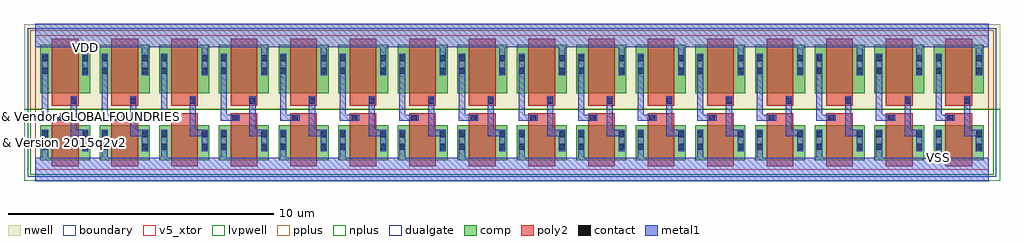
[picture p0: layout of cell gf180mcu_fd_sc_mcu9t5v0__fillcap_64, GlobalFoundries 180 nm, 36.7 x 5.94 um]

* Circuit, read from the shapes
.subckt gf180mcu_fd_sc_mcu9t5v0__fillcap_64 VDD VSS
XM1 n1 n2 VSS VSUBS nfet_05v0 w=1.32u l=1u
XM2 n3 n4 VSS VSUBS nfet_05v0 w=1.32u l=1u
XM3 n5 n6 VSS VSUBS nfet_05v0 w=1.32u l=1u
XM4 n7 n8 VSS VSUBS nfet_05v0 w=1.32u l=1u
XM5 n9 n10 VSS VSUBS nfet_05v0 w=1.32u l=1u
XM6 n11 n12 VSS VSUBS nfet_05v0 w=1.32u l=1u
XM7 n13 n14 VSS VSUBS nfet_05v0 w=1.32u l=1u
XM8 n15 n16 VSS VSUBS nfet_05v0 w=1.32u l=1u
XM9 n17 n18 VSS VSUBS nfet_05v0 w=1.32u l=1u
XM10 n19 n20 VSS VSUBS nfet_05v0 w=1.32u l=1u
XM11 n21 n22 VSS VSUBS nfet_05v0 w=1.32u l=1u
XM12 n23 n24 VSS VSUBS nfet_05v0 w=1.32u l=1u
XM13 n25 n26 VSS VSUBS nfet_05v0 w=1.32u l=1u
XM14 n27 n28 VSS VSUBS nfet_05v0 w=1.32u l=1u
XM15 n29 n30 VSS VSUBS nfet_05v0 w=1.32u l=1u
XM16 n31 n32 VSS VSUBS nfet_05v0 w=1.32u l=1u
XM17 VDD n1 n2 n33 pfet_05v0 w=1.83u l=1u
XM18 VDD n3 n4 n33 pfet_05v0 w=1.83u l=1u
XM19 VDD n5 n6 n33 pfet_05v0 w=1.83u l=1u
XM20 VDD n7 n8 n33 pfet_05v0 w=1.83u l=1u
XM21 VDD n9 n10 n33 pfet_05v0 w=1.83u l=1u
XM22 VDD n11 n12 n33 pfet_05v0 w=1.83u l=1u
XM23 VDD n13 n14 n33 pfet_05v0 w=1.83u l=1u
XM24 VDD n15 n16 n33 pfet_05v0 w=1.83u l=1u
XM25 VDD n17 n18 n33 pfet_05v0 w=1.83u l=1u
XM26 VDD n19 n20 n33 pfet_05v0 w=1.83u l=1u
XM27 VDD n21 n22 n33 pfet_05v0 w=1.83u l=1u
XM28 VDD n23 n24 n33 pfet_05v0 w=1.83u l=1u
XM29 VDD n25 n26 n33 pfet_05v0 w=1.83u l=1u
XM30 VDD n27 n28 n33 pfet_05v0 w=1.83u l=1u
XM31 VDD n29 n30 n33 pfet_05v0 w=1.83u l=1u
XM32 VDD n31 n32 n33 pfet_05v0 w=1.83u l=1u
.ends

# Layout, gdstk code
import gdstk
lib = gdstk.Library(unit=1e-6, precision=1e-09)
def R(c, l, rs):  # rectangles x0, y0, x1, y1
    for r in rs: c.add(gdstk.rectangle(r[:2], r[2:], *l))
def A(c, l, x, y, w, h, nx, ny, dx, dy):  # array of equal rectangles
    R(c, l, [(x+i*dx, y+j*dy, x+i*dx+w, y+j*dy+h) for i in range(nx) for j in range(ny)])
def P(c, l, *ps):  # polygons
    for p in ps: c.add(gdstk.Polygon(p, *l))
boundary = (0, 0)
nwell = (21, 0)
comp = (22, 0)
poly2 = (30, 0)
pplus = (31, 0)
nplus = (32, 0)
contact = (33, 0)
metal1 = (34, 0)
dualgate = (55, 0)
v5_xtor = (112, 1)
lvpwell = (204, 0)

gf180mcu_fd_sc_mcu9t5v0_ = lib.new_cell('gf180mcu_fd_sc_mcu9t5v0__fillcap_64')
R(gf180mcu_fd_sc_mcu9t5v0_, boundary, [(0,0,35.84,5.04)])
R(gf180mcu_fd_sc_mcu9t5v0_, nwell, [(-0.43,2.265,36.27,5.47)])
A(gf180mcu_fd_sc_mcu9t5v0_, comp, 0.18, 0.345, 1.88, 1.32, 16, 1, 2.24, 0)
A(gf180mcu_fd_sc_mcu9t5v0_, comp, 0.18, 2.865, 1.88, 1.83, 16, 1, 2.24, 0)
A(gf180mcu_fd_sc_mcu9t5v0_, poly2, 0.62, 0.125, 1, 2, 16, 1, 2.24, 0)
A(gf180mcu_fd_sc_mcu9t5v0_, poly2, 0.62, 2.405, 1, 2.51, 16, 1, 2.24, 0)
R(gf180mcu_fd_sc_mcu9t5v0_, pplus, [(-0.2,2.265,36.04,5.24)])
R(gf180mcu_fd_sc_mcu9t5v0_, nplus, [(-0.2,-0.2,36.04,2.265)])
A(gf180mcu_fd_sc_mcu9t5v0_, contact, 0.69, 1.835, 0.22, 0.22, 16, 1, 2.24, 0)
A(gf180mcu_fd_sc_mcu9t5v0_, contact, 1.33, 2.475, 0.22, 0.22, 16, 1, 2.24, 0)
R(gf180mcu_fd_sc_mcu9t5v0_, contact, [(0.25,0.74,0.47,0.96), (1.77,0.74,1.99,0.96), (2.49,0.74,2.71,0.96), (4.01,0.74,4.23,0.96), (4.73,0.74,4.95,0.96), (6.25,0.74,6.47,0.96), (6.97,0.74,7.19,0.96), (8.49,0.74,8.71,0.96), (9.21,0.74,9.43,0.96), (10.73,0.74,10.95,0.96), (11.45,0.74,11.67,0.96), (12.97,0.74,13.19,0.96), (13.69,0.74,13.91,0.96), (15.21,0.74,15.43,0.96), (15.93,0.74,16.15,0.96), (17.45,0.74,17.67,0.96), (18.17,0.74,18.39,0.96), (19.69,0.74,19.91,0.96), (20.41,0.74,20.63,0.96), (21.93,0.74,22.15,0.96), (22.65,0.74,22.87,0.96), (24.17,0.74,24.39,0.96), (24.89,0.74,25.11,0.96), (26.41,0.74,26.63,0.96), (27.13,0.74,27.35,0.96), (28.65,0.74,28.87,0.96), (29.37,0.74,29.59,0.96), (30.89,0.74,31.11,0.96), (31.61,0.74,31.83,0.96), (33.13,0.74,33.35,0.96), (33.85,0.74,34.07,0.96), (35.37,0.74,35.59,0.96), (0.25,1.21,0.47,1.43), (1.77,1.21,1.99,1.43), (2.49,1.21,2.71,1.43), (4.01,1.21,4.23,1.43), (4.73,1.21,4.95,1.43), (6.25,1.21,6.47,1.43), (6.97,1.21,7.19,1.43), (8.49,1.21,8.71,1.43), (9.21,1.21,9.43,1.43), (10.73,1.21,10.95,1.43), (11.45,1.21,11.67,1.43), (12.97,1.21,13.19,1.43), (13.69,1.21,13.91,1.43), (15.21,1.21,15.43,1.43), (15.93,1.21,16.15,1.43), (17.45,1.21,17.67,1.43), (18.17,1.21,18.39,1.43), (19.69,1.21,19.91,1.43), (20.41,1.21,20.63,1.43), (21.93,1.21,22.15,1.43), (22.65,1.21,22.87,1.43), (24.17,1.21,24.39,1.43), (24.89,1.21,25.11,1.43), (26.41,1.21,26.63,1.43), (27.13,1.21,27.35,1.43), (28.65,1.21,28.87,1.43), (29.37,1.21,29.59,1.43), (30.89,1.21,31.11,1.43), (31.61,1.21,31.83,1.43), (33.13,1.21,33.35,1.43), (33.85,1.21,34.07,1.43), (35.37,1.21,35.59,1.43), (0.25,3.61,0.47,3.83), (1.77,3.61,1.99,3.83), (2.49,3.61,2.71,3.83), (4.01,3.61,4.23,3.83), (4.73,3.61,4.95,3.83), (6.25,3.61,6.47,3.83), (6.97,3.61,7.19,3.83), (8.49,3.61,8.71,3.83), (9.21,3.61,9.43,3.83), (10.73,3.61,10.95,3.83), (11.45,3.61,11.67,3.83), (12.97,3.61,13.19,3.83), (13.69,3.61,13.91,3.83), (15.21,3.61,15.43,3.83), (15.93,3.61,16.15,3.83), (17.45,3.61,17.67,3.83), (18.17,3.61,18.39,3.83), (19.69,3.61,19.91,3.83), (20.41,3.61,20.63,3.83), (21.93,3.61,22.15,3.83), (22.65,3.61,22.87,3.83), (24.17,3.61,24.39,3.83), (24.89,3.61,25.11,3.83), (26.41,3.61,26.63,3.83), (27.13,3.61,27.35,3.83), (28.65,3.61,28.87,3.83), (29.37,3.61,29.59,3.83), (30.89,3.61,31.11,3.83), (31.61,3.61,31.83,3.83), (33.13,3.61,33.35,3.83), (33.85,3.61,34.07,3.83), (35.37,3.61,35.59,3.83), (0.25,4.08,0.47,4.3), (1.77,4.08,1.99,4.3), (2.49,4.08,2.71,4.3), (4.01,4.08,4.23,4.3), (4.73,4.08,4.95,4.3), (6.25,4.08,6.47,4.3), (6.97,4.08,7.19,4.3), (8.49,4.08,8.71,4.3), (9.21,4.08,9.43,4.3), (10.73,4.08,10.95,4.3), (11.45,4.08,11.67,4.3), (12.97,4.08,13.19,4.3), (13.69,4.08,13.91,4.3), (15.21,4.08,15.43,4.3), (15.93,4.08,16.15,4.3), (17.45,4.08,17.67,4.3), (18.17,4.08,18.39,4.3), (19.69,4.08,19.91,4.3), (20.41,4.08,20.63,4.3), (21.93,4.08,22.15,4.3), (22.65,4.08,22.87,4.3), (24.17,4.08,24.39,4.3), (24.89,4.08,25.11,4.3), (26.41,4.08,26.63,4.3), (27.13,4.08,27.35,4.3), (28.65,4.08,28.87,4.3), (29.37,4.08,29.59,4.3), (30.89,4.08,31.11,4.3), (31.61,4.08,31.83,4.3), (33.13,4.08,33.35,4.3), (33.85,4.08,34.07,4.3), (35.37,4.08,35.59,4.3)])
P(gf180mcu_fd_sc_mcu9t5v0_, metal1, [(0.245,1.83),(0.245,4.36),(0.475,4.36),(0.475,2.06),(0.97,2.06),(0.97,1.83)],
  [(1.765,0.68),(1.765,1.26),(1.325,1.26),(1.325,2.755),(1.555,2.755),(1.555,1.49),(1.995,1.49),(1.995,0.68)],
  [(2.485,1.83),(2.485,4.36),(2.715,4.36),(2.715,2.06),(3.21,2.06),(3.21,1.83)],
  [(4.005,0.68),(4.005,1.26),(3.565,1.26),(3.565,2.755),(3.795,2.755),(3.795,1.49),(4.235,1.49),(4.235,0.68)],
  [(4.725,1.83),(4.725,4.36),(4.955,4.36),(4.955,2.06),(5.45,2.06),(5.45,1.83)],
  [(6.245,0.68),(6.245,1.26),(5.805,1.26),(5.805,2.755),(6.035,2.755),(6.035,1.49),(6.475,1.49),(6.475,0.68)],
  [(6.965,1.83),(6.965,4.36),(7.195,4.36),(7.195,2.06),(7.69,2.06),(7.69,1.83)],
  [(8.485,0.68),(8.485,1.26),(8.045,1.26),(8.045,2.755),(8.275,2.755),(8.275,1.49),(8.715,1.49),(8.715,0.68)],
  [(9.205,1.83),(9.205,4.36),(9.435,4.36),(9.435,2.06),(9.93,2.06),(9.93,1.83)],
  [(10.725,0.68),(10.725,1.26),(10.285,1.26),(10.285,2.755),(10.515,2.755),(10.515,1.49),(10.955,1.49),(10.955,0.68)],
  [(11.445,1.83),(11.445,4.36),(11.675,4.36),(11.675,2.06),(12.17,2.06),(12.17,1.83)],
  [(12.965,0.68),(12.965,1.26),(12.525,1.26),(12.525,2.755),(12.755,2.755),(12.755,1.49),(13.195,1.49),(13.195,0.68)],
  [(13.685,1.83),(13.685,4.36),(13.915,4.36),(13.915,2.06),(14.41,2.06),(14.41,1.83)],
  [(15.205,0.68),(15.205,1.26),(14.765,1.26),(14.765,2.755),(14.995,2.755),(14.995,1.49),(15.435,1.49),(15.435,0.68)],
  [(15.925,1.83),(15.925,4.36),(16.155,4.36),(16.155,2.06),(16.65,2.06),(16.65,1.83)],
  [(17.445,0.68),(17.445,1.26),(17.005,1.26),(17.005,2.755),(17.235,2.755),(17.235,1.49),(17.675,1.49),(17.675,0.68)],
  [(18.165,1.83),(18.165,4.36),(18.395,4.36),(18.395,2.06),(18.89,2.06),(18.89,1.83)],
  [(19.685,0.68),(19.685,1.26),(19.245,1.26),(19.245,2.755),(19.475,2.755),(19.475,1.49),(19.915,1.49),(19.915,0.68)],
  [(20.405,1.83),(20.405,4.36),(20.635,4.36),(20.635,2.06),(21.13,2.06),(21.13,1.83)],
  [(21.925,0.68),(21.925,1.26),(21.485,1.26),(21.485,2.755),(21.715,2.755),(21.715,1.49),(22.155,1.49),(22.155,0.68)],
  [(22.645,1.83),(22.645,4.36),(22.875,4.36),(22.875,2.06),(23.37,2.06),(23.37,1.83)],
  [(24.165,0.68),(24.165,1.26),(23.725,1.26),(23.725,2.755),(23.955,2.755),(23.955,1.49),(24.395,1.49),(24.395,0.68)],
  [(24.885,1.83),(24.885,4.36),(25.115,4.36),(25.115,2.06),(25.61,2.06),(25.61,1.83)],
  [(26.405,0.68),(26.405,1.26),(25.965,1.26),(25.965,2.755),(26.195,2.755),(26.195,1.49),(26.635,1.49),(26.635,0.68)],
  [(27.125,1.83),(27.125,4.36),(27.355,4.36),(27.355,2.06),(27.85,2.06),(27.85,1.83)],
  [(28.645,0.68),(28.645,1.26),(28.205,1.26),(28.205,2.755),(28.435,2.755),(28.435,1.49),(28.875,1.49),(28.875,0.68)],
  [(29.365,1.83),(29.365,4.36),(29.595,4.36),(29.595,2.06),(30.09,2.06),(30.09,1.83)],
  [(30.885,0.68),(30.885,1.26),(30.445,1.26),(30.445,2.755),(30.675,2.755),(30.675,1.49),(31.115,1.49),(31.115,0.68)],
  [(31.605,1.83),(31.605,4.36),(31.835,4.36),(31.835,2.06),(32.33,2.06),(32.33,1.83)],
  [(33.125,0.68),(33.125,1.26),(32.685,1.26),(32.685,2.755),(32.915,2.755),(32.915,1.49),(33.355,1.49),(33.355,0.68)],
  [(33.845,1.83),(33.845,4.36),(34.075,4.36),(34.075,2.06),(34.57,2.06),(34.57,1.83)],
  [(35.365,0.68),(35.365,1.26),(34.925,1.26),(34.925,2.755),(35.155,2.755),(35.155,1.49),(35.595,1.49),(35.595,0.68)],
  [(0,-0.45),(0,0.45),(0.245,0.45),(0.245,1.49),(0.475,1.49),(0.475,0.45),(2.485,0.45),(2.485,1.49),(2.715,1.49),(2.715,0.45),(4.725,0.45),(4.725,1.49),(4.955,1.49),(4.955,0.45),(6.965,0.45),(6.965,1.49),(7.195,1.49),(7.195,0.45),(9.205,0.45),(9.205,1.49),(9.435,1.49),(9.435,0.45),(11.445,0.45),(11.445,1.49),(11.675,1.49),(11.675,0.45),(13.685,0.45),(13.685,1.49),(13.915,1.49),(13.915,0.45),(15.925,0.45),(15.925,1.49),(16.155,1.49),(16.155,0.45),(18.165,0.45),(18.165,1.49),(18.395,1.49),(18.395,0.45),(20.405,0.45),(20.405,1.49),(20.635,1.49),(20.635,0.45),(22.645,0.45),(22.645,1.49),(22.875,1.49),(22.875,0.45),(24.885,0.45),(24.885,1.49),(25.115,1.49),(25.115,0.45),(27.125,0.45),(27.125,1.49),(27.355,1.49),(27.355,0.45),(29.365,0.45),(29.365,1.49),(29.595,1.49),(29.595,0.45),(31.605,0.45),(31.605,1.49),(31.835,1.49),(31.835,0.45),(33.845,0.45),(33.845,1.49),(34.075,1.49),(34.075,0.45),(35.84,0.45),(35.84,-0.45)],
  [(1.765,3.55),(1.765,4.59),(0,4.59),(0,5.49),(35.84,5.49),(35.84,4.59),(35.595,4.59),(35.595,3.55),(35.365,3.55),(35.365,4.59),(33.355,4.59),(33.355,3.55),(33.125,3.55),(33.125,4.59),(31.115,4.59),(31.115,3.55),(30.885,3.55),(30.885,4.59),(28.875,4.59),(28.875,3.55),(28.645,3.55),(28.645,4.59),(26.635,4.59),(26.635,3.55),(26.405,3.55),(26.405,4.59),(24.395,4.59),(24.395,3.55),(24.165,3.55),(24.165,4.59),(22.155,4.59),(22.155,3.55),(21.925,3.55),(21.925,4.59),(19.915,4.59),(19.915,3.55),(19.685,3.55),(19.685,4.59),(17.675,4.59),(17.675,3.55),(17.445,3.55),(17.445,4.59),(15.435,4.59),(15.435,3.55),(15.205,3.55),(15.205,4.59),(13.195,4.59),(13.195,3.55),(12.965,3.55),(12.965,4.59),(10.955,4.59),(10.955,3.55),(10.725,3.55),(10.725,4.59),(8.715,4.59),(8.715,3.55),(8.485,3.55),(8.485,4.59),(6.475,4.59),(6.475,3.55),(6.245,3.55),(6.245,4.59),(4.235,4.59),(4.235,3.55),(4.005,3.55),(4.005,4.59),(1.995,4.59),(1.995,3.55)])
R(gf180mcu_fd_sc_mcu9t5v0_, dualgate, [(-0.28,-0.28,36.12,5.32)])
R(gf180mcu_fd_sc_mcu9t5v0_, v5_xtor, [(0,0,35.84,5.04)])
R(gf180mcu_fd_sc_mcu9t5v0_, lvpwell, [(-0.43,-0.43,36.27,2.265)])
gf180mcu_fd_sc_mcu9t5v0_.add(gdstk.Label('VDD', (1.88,4.59), layer=34, texttype=10))
gf180mcu_fd_sc_mcu9t5v0_.add(gdstk.Label('VSS', (33.96,0.45), layer=34, texttype=10))
gf180mcu_fd_sc_mcu9t5v0_.add(gdstk.Label('& Vendor GLOBALFOUNDRIES', (0,2), layer=63, texttype=63))
gf180mcu_fd_sc_mcu9t5v0_.add(gdstk.Label('& Product GF018hv5v_green_sc9', (0,1.5), layer=63, texttype=63))
gf180mcu_fd_sc_mcu9t5v0_.add(gdstk.Label('& Version 2015q2v2', (0,1), layer=63, texttype=63))
gf180mcu_fd_sc_mcu9t5v0_.add(gdstk.Label('& Metric 1.00', (0,0.5), layer=63, texttype=63))

lib.write_gds('gf180mcu_fd_sc_mcu9t5v0__fillcap_64.gds')
